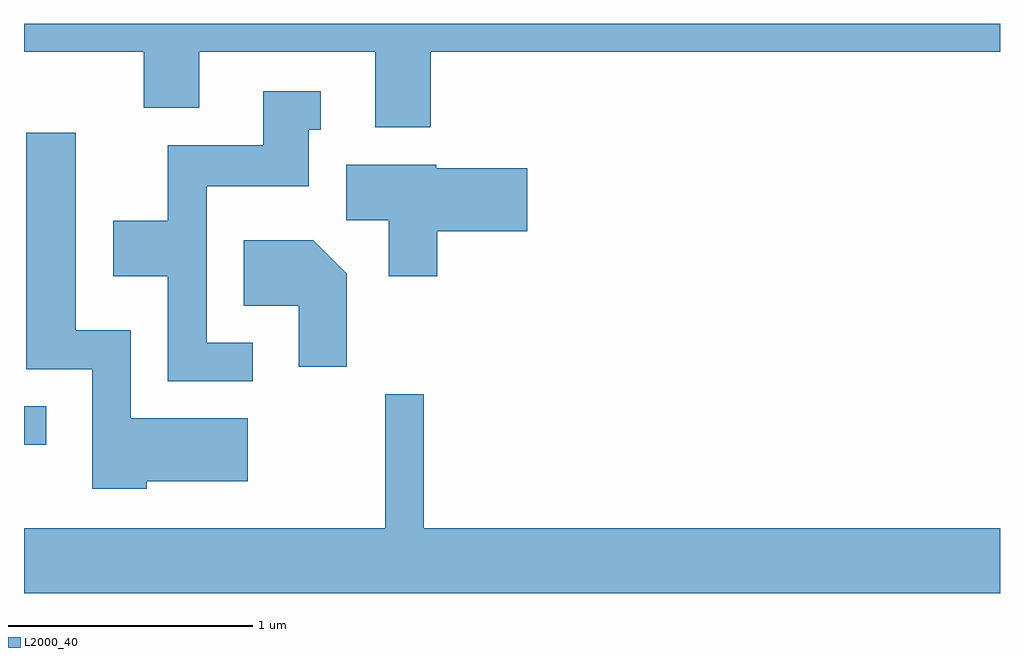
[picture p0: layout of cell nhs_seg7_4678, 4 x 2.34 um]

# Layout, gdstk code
import gdstk
lib = gdstk.Library(unit=1e-6, precision=1e-09)
def R(c, l, rs):  # rectangles x0, y0, x1, y1
    for r in rs: c.add(gdstk.rectangle(r[:2], r[2:], *l))
def P(c, l, *ps):  # polygons
    for p in ps: c.add(gdstk.Polygon(p, *l))
L2000_40 = (2000, 40)

nhs_seg7_4678 = lib.new_cell('nhs_seg7_4678')
R(nhs_seg7_4678, L2000_40, [(329.611,1670.526,329.703,1670.684)])
P(nhs_seg7_4678, L2000_40, [(331.279,1672.136),(333.611,1672.136),(333.611,1672.252),(329.611,1672.252),(329.611,1672.136),(330.101,1672.136),(330.101,1671.906),(330.329,1671.906),(330.329,1672.136),(331.051,1672.136),(331.051,1671.826),(331.279,1671.826)],
  [(330.548,1670.944),(330.359,1670.944),(330.359,1671.586),(330.779,1671.586),(330.779,1671.816),(330.828,1671.816),(330.828,1671.974),(330.591,1671.974),(330.591,1671.754),(330.201,1671.754),(330.201,1671.444),(329.976,1671.444),(329.976,1671.216),(330.201,1671.216),(330.201,1670.786),(330.548,1670.786)],
  [(330.114,1670.376),(330.529,1670.376),(330.529,1670.634),(330.049,1670.634),(330.049,1670.994),(329.824,1670.994),(329.824,1671.804),(329.621,1671.804),(329.621,1670.836),(329.891,1670.836),(329.891,1670.346),(330.114,1670.346)],
  [(331.304,1671.401),(331.674,1671.401),(331.674,1671.659),(331.3,1671.659),(331.3,1671.674),(330.931,1671.674),(330.931,1671.446),(331.106,1671.446),(331.106,1671.216),(331.304,1671.216)],
  [(330.934,1671.227),(330.797,1671.364),(330.511,1671.364),(330.511,1671.096),(330.736,1671.096),(330.736,1670.846),(330.934,1670.846)],
  [(333.611,1670.184),(331.249,1670.184),(331.249,1670.733),(331.091,1670.733),(331.091,1670.184),(329.611,1670.184),(329.611,1669.916),(333.611,1669.916)])

lib.write_gds('nhs_seg7_4678.gds')
